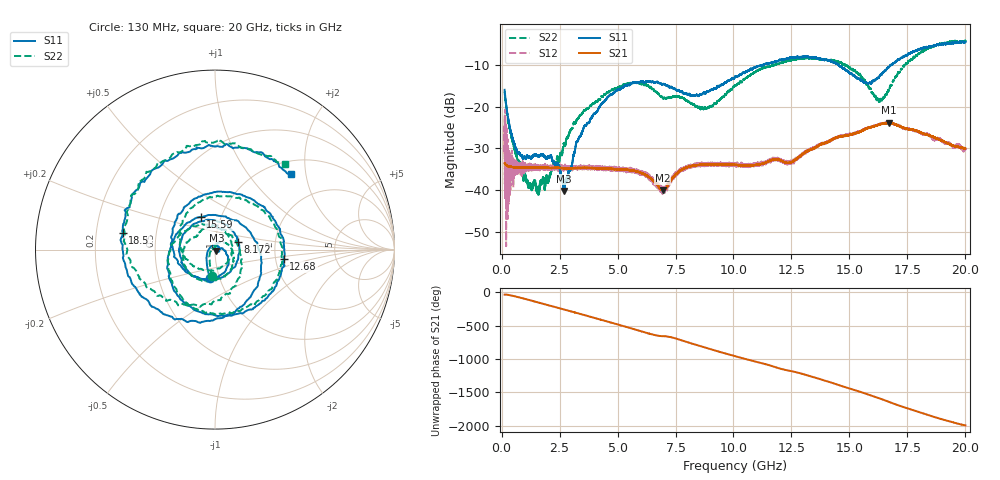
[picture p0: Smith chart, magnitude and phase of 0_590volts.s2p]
!Created with skrf (http://scikit-rf.org).
# GHz S RI R 50.0
!freq ReS11 ImS11 ReS21 ImS21 ReS12 ImS12 ReS22 ImS22
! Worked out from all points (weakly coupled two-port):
!   20013 points, 130 MHz to 20 GHz, reference 50 ohm
!   highest |S21| = -23.83 dB at 16.69 GHz (marker M1); lowest = -40.1 dB at 6.954 GHz (marker M2)
!   lowest |S11| = -40.2 dB at 2.691 GHz (marker M3), VSWR 1.02, Z = 50.8 - j0.542 ohm
!   |S11| at or under -10 dB: start of sweep to 11.27 GHz; 14.52 GHz to 16.78 GHz (2.262 GHz wide, 14.5 % of centre); 16.79419 GHz to 16.80965 GHz (15.46 MHz wide, 0.092 % of centre) (the widest 3 of 18)
!   |S22| runs from -41.2 to -4.2 dB; largest |S21 - S12| = 0.079
!   S11 on the Smith chart (normalised r, x): 130 MHz: 0.90, -0.29; 8.172 GHz: 1.28, +0.11; 12.68 GHz: 2.22, -0.27; 15.59 GHz: 0.80, +0.30; 18.5 GHz: 0.32, +0.08; 20 GHz: 1.31, +1.67
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0.13  -0.0275 -0.1565  0.0176 -0.0119  -0.0252 0.0143  -0.0141 -0.1496
0.62  -0.0303 0.0084  0.0082 -0.0169  0.00726 -0.0173  -0.026 -0.00904
1.229  0.0112 0.0223  -0.00913 -0.0166  -0.00962 -0.0162  -0.00776 0.00919
2.085  0.0234 -0.0103  -0.0172 0.00636  -0.0179 0.00573  0.0014 0.0147
2.691  0.00822 -0.00534  -0.00391 0.0179  -0.00376 0.0179  0.0102 0.0346
3.442  0.0469 0.000651  0.0158 0.0095  0.0155 0.0089  0.0764 0.0237
4.96  0.00995 -0.1559  -0.00829 -0.0159  -0.00775 -0.0158  0.0182 -0.1619
6.754  -0.1727 0.0901  0.00405 0.0104  0.00457 0.0102  -0.1265 0.0661
6.954  -0.1317 0.1322  0.00458 0.00879  0.00495 0.00851  -0.1053 0.0706
8.172  0.1268 0.0438  0.0138 -0.0137  0.0144 -0.0137  0.0652 0.0877
10.065  -0.2216 -0.0445  -0.0107 0.017  -0.0106 0.0175  -0.1733 -0.0325
11.414  0.0359 0.3234  0.0214 -0.000317  0.0216 -0.00037  0.00507 0.2945
12.677  0.3834 -0.0519  -0.0105 -0.0209  -0.0101 -0.0215  0.3658 0.0558
13.377  0.2176 -0.3236  -0.0307 0.00296  -0.0313 0.00314  0.3014 -0.2263
14.595  -0.2465 -0.1804  0.0326 0.0294  0.0336 0.031  -0.1561 -0.2992
15.589  -0.0806 0.1811  0.0212 -0.0475  0.0213 -0.0488  -0.1982 0.0796
16.235  0.2045 0.0797  -0.0482 -0.036  -0.0489 -0.0375  0.0583 0.1072
16.689  0.2504 -0.1585  -0.06 0.0232  -0.0596 0.0228  0.1474 -0.0511
17.611  -0.1938 -0.3869  0.0362 0.0395  0.0361 0.0398  -0.1784 -0.3002
18.499  -0.5144 0.0923  0.0272 -0.0357  0.0273 -0.034  -0.5034 0.0895
19.278  -0.1407 0.5468  -0.0242 -0.0263  -0.0245 -0.0275  -0.1731 0.5547
20  0.4306 0.4098  -0.0302 0.00914  -0.029 0.00862  0.3879 0.4804
